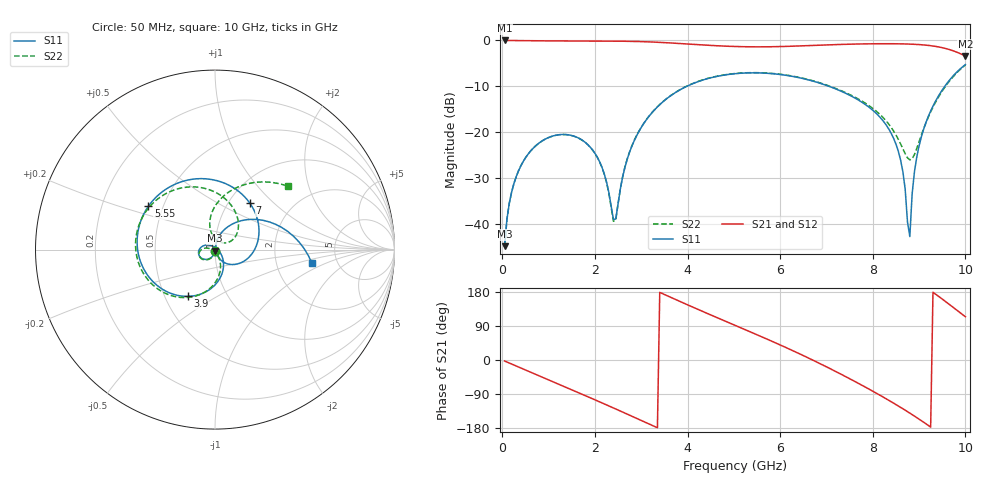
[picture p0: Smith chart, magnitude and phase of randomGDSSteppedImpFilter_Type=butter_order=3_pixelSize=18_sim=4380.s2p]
! freq	dB(S11)	phase(S11)	dB(S12)	phase(S12)
!  dB(S21)	phase(S21)	dB(S22)	phase(S22)
!S-par simulation data
#  GHz  S  DB  R 50
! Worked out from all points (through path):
!   200 points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, 50 MHz to 10 GHz, reference 50 ohm
!   highest |S21| = 0.00 dB at 50 MHz (marker M1); lowest = -3.4 dB at 10 GHz (marker M2)
!   group delay of S21, straight-line fit = 161 ps
!   lowest |S11| = -44.8 dB at 50 MHz (marker M3), VSWR 1.01, Z = 50 - j0.573 ohm
!   |S11| at or under -10 dB: start of sweep to 3.983 GHz; 7.055 GHz to 9.555 GHz (2.5 GHz wide, 30.1 % of centre)
!   |S22| runs from -44.8 to -5.4 dB; largest |S21 - S12| = 0
!   S11 on the Smith chart (normalised r, x): 50 MHz: 1.00, -0.01; 3.9 GHz: 0.65, -0.37; 5.55 GHz: 0.41, +0.25; 7 GHz: 1.25, +0.72; 10 GHz: 3.23, -0.70
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0.05  -44.84 -89.9  -0.00 -2.7  -0.00 -2.7  -44.82 -90.8
0.2  -33.11 -100.3  -0.02 -10.6  -0.02 -10.6  -33.11 -99.6
0.55  -24.88 -120.4  -0.05 -29.0  -0.05 -29.0  -24.86 -118.3
1.15  -20.68 -153.6  -0.11 -60.3  -0.11 -60.3  -20.69 -148.6
1.75  -21.91 171.8  -0.13 -91.8  -0.13 -91.8  -21.92 -177.2
2.15  -27.59 142.6  -0.14 -113.0  -0.14 -113.0  -27.63 169.1
2.4  -39.04 73.4  -0.15 -126.5  -0.15 -126.5  -39.43 -147.8
2.8  -22.99 -51.1  -0.21 -148.4  -0.21 -148.4  -22.93 -66.9
3.4  -13.99 -90.8  -0.42 178.4  -0.42 178.4  -13.96 -93.5
3.9  -10.42 -120.1  -0.71 151.0  -0.71 151.0  -10.39 -118.5
5.05  -7.22 175.4  -1.33 90.2  -1.33 90.2  -7.19 -174.7
5.55  -7.08 146.9  -1.40 64.0  -1.40 64.0  -7.03 161.7
6.7  -8.84 74.4  -1.09 0.0  -1.09 0.0  -8.78 106.7
7  -9.80 53.2  -0.98 -18.0  -0.98 -18.0  -9.72 92.3
7.75  -13.37 -2.9  -0.76 -65.6  -0.76 -65.6  -13.12 56.0
8.35  -19.39 -48.2  -0.72 -106.7  -0.72 -106.7  -18.31 30.3
8.65  -28.60 -66.8  -0.75 -128.7  -0.75 -128.7  -23.61 34.4
8.8  -42.75 50.7  -0.80 -140.1  -0.80 -140.1  -26.03 61.2
8.9  -28.63 78.8  -0.84 -148.0  -0.84 -148.0  -24.86 85.5
9.1  -19.31 67.6  -0.98 -164.2  -0.98 -164.2  -19.20 103.0
9.5  -10.80 35.6  -1.58 160.8  -1.58 160.8  -11.03 84.2
10  -5.26 -8.0  -3.41 114.1  -3.41 114.1  -5.36 40.9
